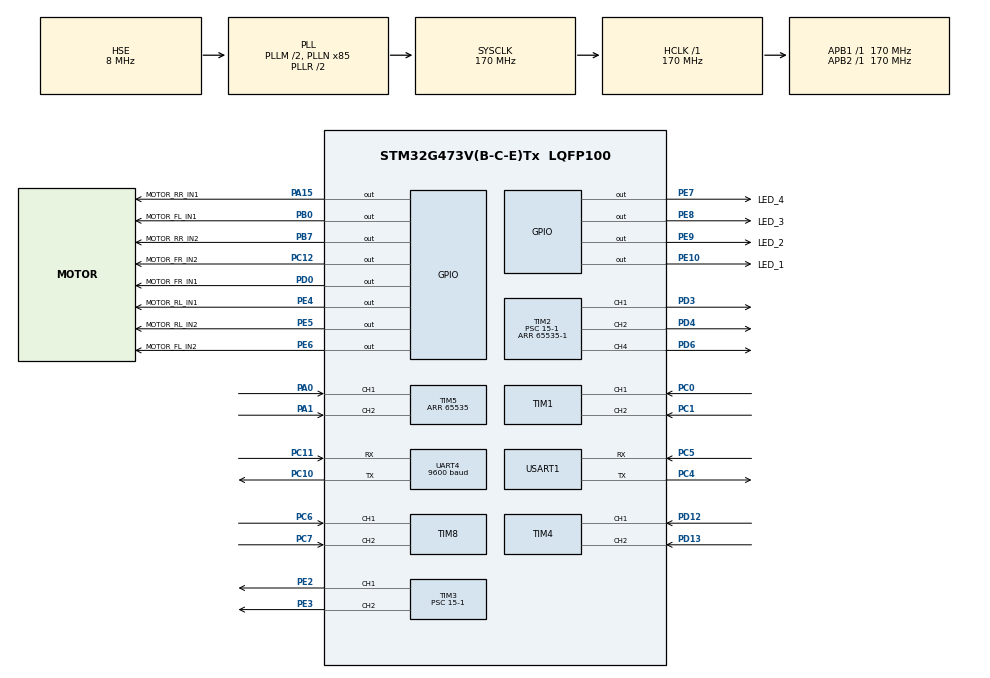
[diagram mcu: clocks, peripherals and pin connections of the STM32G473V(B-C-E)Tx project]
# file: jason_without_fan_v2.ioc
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Mcu.Family=STM32G4
Mcu.Name=STM32G473V(B-C-E)Tx
Mcu.Package=LQFP100
NVIC.PriorityGroup=NVIC_PRIORITYGROUP_4
PA0.Signal=S_TIM5_CH1
PA1.Signal=S_TIM5_CH2
PA13.Mode=Serial_Wire
PA13.Signal=SYS_JTMS-SWDIO
PA14.Mode=Serial_Wire
PA14.Signal=SYS_JTCK-SWCLK
PA15.GPIO_Label=MOTOR_RR_IN1
PA15.Signal=GPIO_Output
PB0.GPIO_Label=MOTOR_FL_IN1
PB0.Signal=GPIO_Output
PB7.GPIO_Label=MOTOR_RR_IN2
PB7.Signal=GPIO_Output
PC0.Signal=S_TIM1_CH1
PC1.Signal=S_TIM1_CH2
PC10.Mode=Asynchronous
PC10.Signal=UART4_TX
PC11.Mode=Asynchronous
PC11.Signal=UART4_RX
PC12.GPIO_Label=MOTOR_FR_IN2
PC12.Signal=GPIO_Output
PC14-OSC32_IN.Mode=LSE-External-Oscillator
PC14-OSC32_IN.Signal=RCC_OSC32_IN
PC15-OSC32_OUT.Mode=LSE-External-Oscillator
PC15-OSC32_OUT.Signal=RCC_OSC32_OUT
PC4.Mode=Asynchronous
PC4.Signal=USART1_TX
PC5.Mode=Asynchronous
PC5.Signal=USART1_RX
PC6.Signal=S_TIM8_CH1
PC7.Signal=S_TIM8_CH2
PD0.GPIO_Label=MOTOR_FR_IN1
PD0.Signal=GPIO_Output
PD12.Signal=S_TIM4_CH1
PD13.Signal=S_TIM4_CH2
PD3.Signal=S_TIM2_CH1
PD4.Signal=S_TIM2_CH2
PD6.Signal=S_TIM2_CH4
PE10.GPIO_Label=LED_1
PE10.GPIO_Speed=GPIO_SPEED_FREQ_VERY_HIGH
PE10.Signal=GPIO_Output
PE2.Signal=S_TIM3_CH1
PE3.Signal=S_TIM3_CH2
PE4.GPIO_Label=MOTOR_RL_IN1
PE4.Signal=GPIO_Output
PE5.GPIO_Label=MOTOR_RL_IN2
PE5.Signal=GPIO_Output
PE6.GPIO_Label=MOTOR_FL_IN2
PE6.Signal=GPIO_Output
PE7.GPIO_Label=LED_4
PE7.GPIO_Speed=GPIO_SPEED_FREQ_VERY_HIGH
PE7.Signal=GPIO_Output
PE8.GPIO_Label=LED_3
PE8.GPIO_Speed=GPIO_SPEED_FREQ_VERY_HIGH
PE8.Signal=GPIO_Output
PE9.GPIO_Label=LED_2
PE9.GPIO_Speed=GPIO_SPEED_FREQ_VERY_HIGH
PE9.Signal=GPIO_Output
PF0-OSC_IN.Mode=HSE-External-Oscillator
PF0-OSC_IN.Signal=RCC_OSC_IN
PF1-OSC_OUT.Mode=HSE-External-Oscillator
PF1-OSC_OUT.Signal=RCC_OSC_OUT
ProjectManager.HeapSize=0x200
ProjectManager.StackSize=0x400
ProjectManager.TargetToolchain=STM32CubeIDE
RCC.ADC12Freq_Value=170000000
RCC.ADC345Freq_Value=170000000
RCC.AHBFreq_Value=170000000
RCC.APB1Freq_Value=170000000
RCC.APB1TimFreq_Value=170000000
RCC.APB2Freq_Value=170000000
RCC.APB2TimFreq_Value=170000000
RCC.CortexFreq_Value=170000000
RCC.EXTERNAL_CLOCK_VALUE=12288000
RCC.HCLKFreq_Value=170000000
RCC.HSE_VALUE=8000000
RCC.HSI48_VALUE=48000000
RCC.HSI_VALUE=16000000
RCC.PLLM=RCC_PLLM_DIV2
RCC.PLLN=85
RCC.PLLSourceVirtual=RCC_PLLSOURCE_HSE
RCC.SYSCLKFreq_VALUE=170000000
RCC.SYSCLKSource=RCC_SYSCLKSOURCE_PLLCLK
RCC.USBFreq_Value=170000000
RCC.VCOOutputFreq_Value=340000000
SH.S_TIM1_CH1.0=TIM1_CH1,Encoder_Interface
SH.S_TIM1_CH2.0=TIM1_CH2,Encoder_Interface
SH.S_TIM2_CH1.0=TIM2_CH1,PWM Generation1 CH1
SH.S_TIM2_CH2.0=TIM2_CH2,PWM Generation2 CH2
SH.S_TIM2_CH4.0=TIM2_CH4,PWM Generation4 CH4
SH.S_TIM3_CH1.0=TIM3_CH1,PWM Generation1 CH1
SH.S_TIM3_CH2.0=TIM3_CH2,PWM Generation2 CH2
SH.S_TIM4_CH1.0=TIM4_CH1,Encoder_Interface
SH.S_TIM4_CH2.0=TIM4_CH2,Encoder_Interface
SH.S_TIM5_CH1.0=TIM5_CH1,Encoder_Interface
SH.S_TIM5_CH2.0=TIM5_CH2,Encoder_Interface
SH.S_TIM8_CH1.0=TIM8_CH1,Encoder_Interface
SH.S_TIM8_CH2.0=TIM8_CH2,Encoder_Interface
TIM1.AutoReloadPreload=TIM_AUTORELOAD_PRELOAD_ENABLE
TIM1.EncoderMode=TIM_ENCODERMODE_TI12
TIM1.IC1Filter=10
TIM1.IC2Filter=10
TIM2.AutoReloadPreload=TIM_AUTORELOAD_PRELOAD_ENABLE
TIM2.Channel-PWM\ Generation1\ CH1=TIM_CHANNEL_1
TIM2.Channel-PWM\ Generation2\ CH2=TIM_CHANNEL_2
TIM2.Channel-PWM\ Generation4\ CH4=TIM_CHANNEL_4
TIM2.PeriodNoDither=65535-1
TIM2.Prescaler=15-1
TIM20.AutoReloadPreload=TIM_AUTORELOAD_PRELOAD_ENABLE
TIM20.Prescaler=13-1
TIM3.AutoReloadPreload=TIM_AUTORELOAD_PRELOAD_ENABLE
TIM3.Channel-PWM\ Generation1\ CH1=TIM_CHANNEL_1
TIM3.Channel-PWM\ Generation2\ CH2=TIM_CHANNEL_2
TIM3.PeriodNoDither=65535-1
TIM3.Prescaler=15-1
TIM4.AutoReloadPreload=TIM_AUTORELOAD_PRELOAD_ENABLE
TIM4.EncoderMode=TIM_ENCODERMODE_TI12
TIM4.IC1Filter=10
TIM4.IC2Filter=10
TIM5.AutoReloadPreload=TIM_AUTORELOAD_PRELOAD_ENABLE
TIM5.EncoderMode=TIM_ENCODERMODE_TI12
TIM5.IC1Filter=10
TIM5.IC2Filter=10
TIM5.PeriodNoDither=65535
TIM8.AutoReloadPreload=TIM_AUTORELOAD_PRELOAD_ENABLE
TIM8.EncoderMode=TIM_ENCODERMODE_TI12
TIM8.IC1Filter=10
TIM8.IC2Filter=10
UART4.BaudRate=9600
USART1.VirtualMode-Asynchronous=VM_ASYNC
VP_SYS_VS_DBSignals.Mode=DisableDeadBatterySignals
VP_TIM20_VS_ClockSourceINT.Mode=Internal
VP_TIM2_VS_ClockSourceINT.Mode=Internal
VP_TIM3_VS_ClockSourceINT.Mode=Internal
board=custom

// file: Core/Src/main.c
/* USER CODE BEGIN Header */
/**
 ******************************************************************************
 * @file           : main.c
 * @brief          : Main program body
 ******************************************************************************
 * @attention
 *
 * Copyright (c) 2025 STMicroelectronics.
 * All rights reserved.
 *
 * This software is licensed under terms that can be found in the LICENSE file
 * in the root directory of this software component.
 * If no LICENSE file comes with this software, it is provided AS-IS.
 *
 ******************************************************************************
 */
/* USER CODE END Header */
#include "main.h"
#include "tim.h"
#include "usart.h"
#include "gpio.h"

/* USER CODE BEGIN PV */
int time_stamp = 0;
/* USER CODE END PV */

void SystemClock_Config(void);

int main(void)
{

  /* MCU Configuration--------------------------------------------------------*/

  /* Reset of all peripherals, Initializes the Flash interface and the Systick. */
  HAL_Init();

  /* Configure the system clock */
  SystemClock_Config();

  /* Initialize all configured peripherals */
  MX_GPIO_Init();
  MX_USART1_UART_Init();
  MX_TIM2_Init();
  MX_TIM3_Init();
  MX_TIM1_Init();
  MX_TIM8_Init();
  MX_TIM4_Init();
  MX_TIM5_Init();
  MX_TIM20_Init();
  MX_UART4_Init();
  /* USER CODE BEGIN 2 */
  HAL_TIM_PWM_Start(&htim2, TIM_CHANNEL_1);
  HAL_TIM_PWM_Start(&htim2, TIM_CHANNEL_2);
  HAL_TIM_PWM_Start(&htim3, TIM_CHANNEL_1);
  HAL_TIM_PWM_Start(&htim3, TIM_CHANNEL_2);
  HAL_TIM_Base_Start_IT(&htim1);
  HAL_TIM_Encoder_Start_IT(&htim1, TIM_CHANNEL_ALL);
  HAL_TIM_Base_Start_IT(&htim4);
  HAL_TIM_Encoder_Start_IT(&htim4, TIM_CHANNEL_ALL);
  HAL_TIM_Base_Start_IT(&htim5);
  HAL_TIM_Encoder_Start_IT(&htim5, TIM_CHANNEL_ALL);
  HAL_TIM_Base_Start_IT(&htim8);
  HAL_TIM_Encoder_Start_IT(&htim8, TIM_CHANNEL_ALL);

  HAL_GPIO_WritePin(LED_1_GPIO_Port, LED_1_Pin, GPIO_PIN_SET);
  HAL_GPIO_WritePin(LED_2_GPIO_Port, LED_2_Pin, GPIO_PIN_SET);
  HAL_GPIO_WritePin(LED_3_GPIO_Port, LED_3_Pin, GPIO_PIN_SET);
  HAL_GPIO_WritePin(LED_4_GPIO_Port, LED_4_Pin, GPIO_PIN_SET);

  HAL_GPIO_WritePin(MOTOR_FL_IN1_GPIO_Port, MOTOR_FL_IN1_Pin, GPIO_PIN_RESET);
  HAL_GPIO_WritePin(MOTOR_FL_IN2_GPIO_Port, MOTOR_FL_IN2_Pin, GPIO_PIN_SET);
  HAL_GPIO_WritePin(MOTOR_FR_IN1_GPIO_Port, MOTOR_FR_IN1_Pin, GPIO_PIN_RESET);
  HAL_GPIO_WritePin(MOTOR_FR_IN2_GPIO_Port, MOTOR_FR_IN2_Pin, GPIO_PIN_SET);
  HAL_GPIO_WritePin(MOTOR_RL_IN1_GPIO_Port, MOTOR_RL_IN1_Pin, GPIO_PIN_RESET);
  HAL_GPIO_WritePin(MOTOR_RL_IN2_GPIO_Port, MOTOR_RL_IN2_Pin, GPIO_PIN_SET);
  HAL_GPIO_WritePin(MOTOR_RR_IN1_GPIO_Port, MOTOR_RR_IN1_Pin, GPIO_PIN_RESET);
  HAL_GPIO_WritePin(MOTOR_RR_IN2_GPIO_Port, MOTOR_RR_IN2_Pin, GPIO_PIN_SET);

  TIM3->CCR2 = 65535 / 2;
  TIM2->CCR1 = 65535 / 2;
  TIM2->CCR2 = 65535 / 2;
  TIM3->CCR1 = 65535 / 2;

  /* USER CODE END 2 */

  /* Infinite loop */
  while (1) {

    /* USER CODE BEGIN 3 */
    HAL_Delay(1);
    if (HAL_GetTick() - time_stamp > 3000) {
      time_stamp = HAL_GetTick();
      HAL_GPIO_TogglePin(MOTOR_FL_IN1_GPIO_Port, MOTOR_FL_IN1_Pin);
      HAL_GPIO_TogglePin(MOTOR_FL_IN2_GPIO_Port, MOTOR_FL_IN2_Pin);
      HAL_GPIO_TogglePin(MOTOR_FR_IN1_GPIO_Port, MOTOR_FR_IN1_Pin);
      HAL_GPIO_TogglePin(MOTOR_FR_IN2_GPIO_Port, MOTOR_FR_IN2_Pin);
      HAL_GPIO_TogglePin(MOTOR_RL_IN1_GPIO_Port, MOTOR_RL_IN1_Pin);
      HAL_GPIO_TogglePin(MOTOR_RL_IN2_GPIO_Port, MOTOR_RL_IN2_Pin);
      HAL_GPIO_TogglePin(MOTOR_RR_IN1_GPIO_Port, MOTOR_RR_IN1_Pin);
      HAL_GPIO_TogglePin(MOTOR_RR_IN2_GPIO_Port, MOTOR_RR_IN2_Pin);
    }
  }
  /* USER CODE END 3 */
}

void SystemClock_Config(void)
{
  RCC_OscInitTypeDef RCC_OscInitStruct = {0};
  RCC_ClkInitTypeDef RCC_ClkInitStruct = {0};

  /** Configure the main internal regulator output voltage
  */
  HAL_PWREx_ControlVoltageScaling(PWR_REGULATOR_VOLTAGE_SCALE1_BOOST);

  /** Initializes the RCC Oscillators according to the specified parameters
  * in the RCC_OscInitTypeDef structure.
  */
  RCC_OscInitStruct.OscillatorType = RCC_OSCILLATORTYPE_HSE;
  RCC_OscInitStruct.HSEState = RCC_HSE_ON;
  RCC_OscInitStruct.PLL.PLLState = RCC_PLL_ON;
  RCC_OscInitStruct.PLL.PLLSource = RCC_PLLSOURCE_HSE;
  RCC_OscInitStruct.PLL.PLLM = RCC_PLLM_DIV2;
  RCC_OscInitStruct.PLL.PLLN = 85;
  RCC_OscInitStruct.PLL.PLLP = RCC_PLLP_DIV2;
  RCC_OscInitStruct.PLL.PLLQ = RCC_PLLQ_DIV2;
  RCC_OscInitStruct.PLL.PLLR = RCC_PLLR_DIV2;
  if (HAL_RCC_OscConfig(&RCC_OscInitStruct) != HAL_OK)
  {
    Error_Handler();
  }

  /** Initializes the CPU, AHB and APB buses clocks
  */
  RCC_ClkInitStruct.ClockType = RCC_CLOCKTYPE_HCLK|RCC_CLOCKTYPE_SYSCLK
                              |RCC_CLOCKTYPE_PCLK1|RCC_CLOCKTYPE_PCLK2;
  RCC_ClkInitStruct.SYSCLKSource = RCC_SYSCLKSOURCE_PLLCLK;
  RCC_ClkInitStruct.AHBCLKDivider = RCC_SYSCLK_DIV1;
  RCC_ClkInitStruct.APB1CLKDivider = RCC_HCLK_DIV1;
  RCC_ClkInitStruct.APB2CLKDivider = RCC_HCLK_DIV1;

  if (HAL_RCC_ClockConfig(&RCC_ClkInitStruct, FLASH_LATENCY_4) != HAL_OK)
  {
    Error_Handler();
  }
}

void Error_Handler(void)
{
  __disable_irq();
  while (1) {
  }
}
